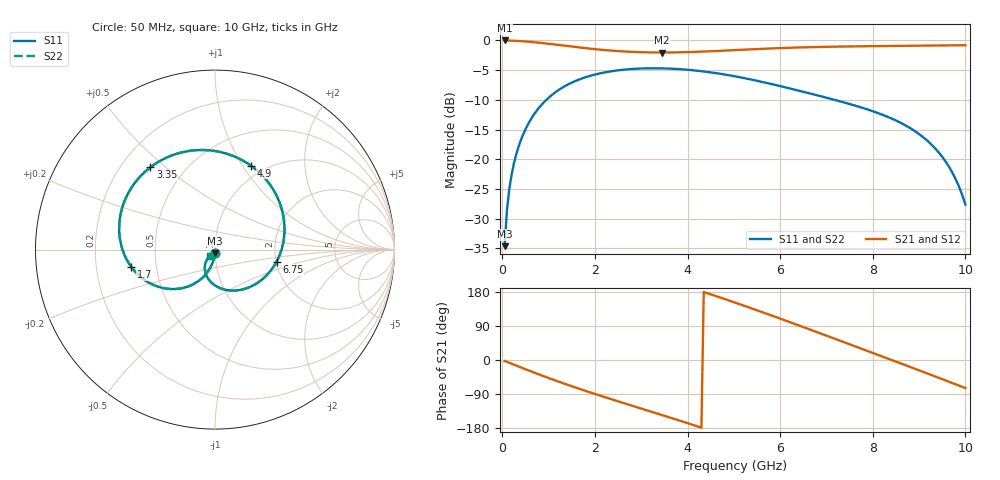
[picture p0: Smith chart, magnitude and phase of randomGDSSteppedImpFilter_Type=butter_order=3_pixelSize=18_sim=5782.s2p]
! freq	dB(S11)	phase(S11)	dB(S12)	phase(S12)
!  dB(S21)	phase(S21)	dB(S22)	phase(S22)
!S-par simulation data
#  GHz  S  DB  R 50
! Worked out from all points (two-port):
!   200 points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, 50 MHz to 10 GHz, reference 50 ohm
!   highest |S21| = 0.00 dB at 50 MHz (marker M1); lowest = -2.0 dB at 3.45 GHz (marker M2)
!   |S21| within 3 dB of the highest: start of sweep to end of sweep
!   lowest |S11| = -34.6 dB at 50 MHz (marker M3), VSWR 1.04, Z = 49.9 - j1.85 ohm
!   |S11| at or under -10 dB: start of sweep to 951.2 MHz; 7.175 GHz to end of sweep
!   |S22| runs from -34.6 to -4.7 dB; largest |S21 - S12| = 0
!   S11 on the Smith chart (normalised r, x): 50 MHz: 1.00, -0.04; 1.7 GHz: 0.36, -0.09; 3.35 GHz: 0.32, +0.45; 4.9 GHz: 0.86, +1.09; 6.75 GHz: 2.01, -0.31; 10 GHz: 0.95, -0.06
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0.05  -34.62 -92.5  -0.00 -2.5  -0.00 -2.5  -34.62 -92.5
0.1  -28.62 -95.2  -0.01 -5.0  -0.01 -5.0  -28.62 -95.2
0.2  -22.65 -100.3  -0.04 -9.9  -0.04 -9.9  -22.65 -100.3
0.5  -14.96 -115.0  -0.18 -24.3  -0.18 -24.3  -14.96 -115.0
1.1  -9.00 -142.6  -0.65 -52.0  -0.65 -52.0  -9.00 -142.6
1.7  -6.45 -168.2  -1.21 -77.5  -1.21 -77.5  -6.45 -168.2
1.75  -6.32 -170.2  -1.26 -79.6  -1.26 -79.6  -6.32 -170.2
2.5  -5.03 160.3  -1.80 -109.0  -1.80 -109.0  -5.03 160.3
3.35  -4.69 128.1  -2.03 -141.4  -2.03 -141.4  -4.69 128.0
3.4  -4.69 126.2  -2.03 -143.3  -2.03 -143.3  -4.69 126.1
3.45  -4.70 124.3  -2.03 -145.2  -2.03 -145.2  -4.70 124.2
4.2  -5.09 95.2  -1.92 -174.5  -1.92 -174.5  -5.09 95.1
4.9  -5.87 67.0  -1.68 156.8  -1.68 156.8  -5.87 66.9
5.05  -6.08 60.8  -1.62 150.5  -1.62 150.5  -6.08 60.7
5.95  -7.59 23.0  -1.30 111.5  -1.30 111.5  -7.59 22.8
6.7  -9.04 -9.1  -1.12 77.9  -1.12 77.9  -9.04 -9.2
6.75  -9.14 -11.2  -1.11 75.6  -1.11 75.6  -9.14 -11.3
7.6  -10.93 -47.3  -1.00 37.0  -1.00 37.0  -10.92 -47.4
8.35  -12.95 -78.4  -0.93 2.7  -0.93 2.7  -12.95 -78.4
8.85  -14.96 -98.7  -0.89 -20.3  -0.89 -20.3  -14.95 -98.5
9.4  -18.63 -119.2  -0.84 -45.8  -0.84 -45.8  -18.60 -118.8
10  -27.63 -127.1  -0.81 -74.1  -0.81 -74.1  -27.44 -125.8
